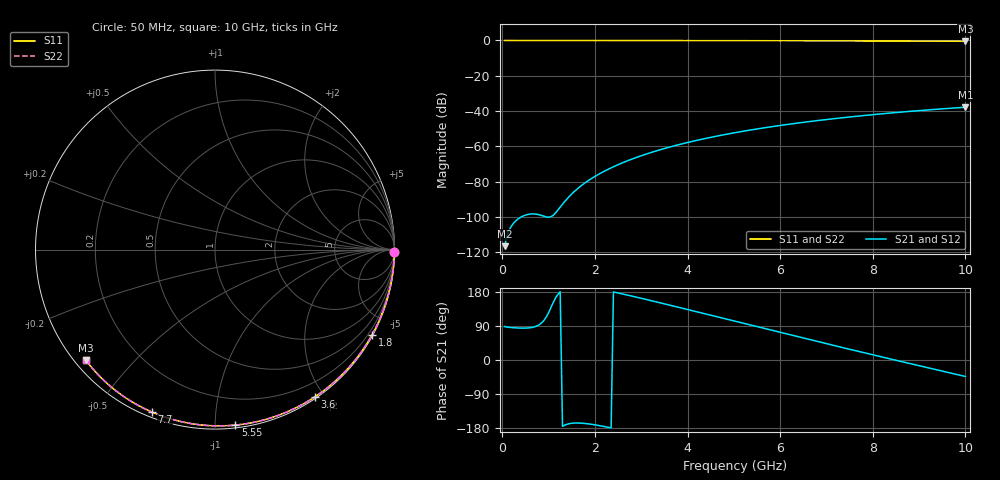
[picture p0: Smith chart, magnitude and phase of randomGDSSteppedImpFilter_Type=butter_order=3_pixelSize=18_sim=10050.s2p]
! freq	dB(S11)	phase(S11)	dB(S12)	phase(S12)
!  dB(S21)	phase(S21)	dB(S22)	phase(S22)
!S-par simulation data
#  GHz  S  DB  R 50
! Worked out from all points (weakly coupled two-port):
!   200 points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, 50 MHz to 10 GHz, reference 50 ohm
!   highest |S21| = -37.81 dB at 10 GHz (marker M1); lowest = -116.5 dB at 50 MHz (marker M2)
!   lowest |S11| = -0.5 dB at 10 GHz (marker M3), VSWR 36.94, Z = 1.54 - j18.4 ohm
!   |S11| at or under -10 dB: nowhere
!   |S22| runs from -0.5 to 0.0 dB; largest |S21 - S12| = 0
!   S11 on the Smith chart (normalised r, x): 50 MHz: open; 1.8 GHz: 0.03, -3.92; 3.6 GHz: 0.02, -1.89; 5.55 GHz: 0.02, -1.12; 7.7 GHz: 0.02, -0.68; 10 GHz: 0.03, -0.37
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0.05  -0.00 -0.8  -116.52 88.3  -116.52 88.3  -0.00 -0.8
0.45  -0.01 -7.3  -99.42 84.0  -99.42 84.0  -0.01 -7.3
0.9  -0.02 -14.4  -99.57 104.6  -99.57 104.6  -0.02 -14.4
1.75  -0.04 -27.8  -81.37 -167.1  -81.37 -167.1  -0.04 -27.8
1.8  -0.04 -28.6  -80.42 -167.7  -80.42 -167.7  -0.04 -28.6
1.85  -0.04 -29.4  -79.52 -168.4  -79.52 -168.4  -0.04 -29.4
2.05  -0.04 -32.5  -76.25 -172.1  -76.25 -172.1  -0.04 -32.5
2.2  -0.04 -34.8  -74.10 -175.5  -74.10 -175.5  -0.04 -34.8
2.55  -0.05 -40.2  -69.79 175.5  -69.79 175.5  -0.05 -40.2
2.95  -0.06 -46.2  -65.75 164.3  -65.75 164.3  -0.06 -46.2
3.4  -0.07 -52.9  -61.96 151.2  -61.96 151.2  -0.07 -52.9
3.6  -0.08 -55.9  -60.48 145.2  -60.48 145.2  -0.08 -55.9
3.9  -0.08 -60.2  -58.44 136.2  -58.44 136.2  -0.08 -60.2
4.3  -0.09 -66.0  -56.00 124.1  -56.00 124.1  -0.09 -66.0
5.05  -0.12 -76.5  -52.12 101.4  -52.12 101.4  -0.12 -76.5
5.55  -0.14 -83.3  -49.91 86.3  -49.91 86.3  -0.14 -83.3
6.1  -0.16 -90.7  -47.77 69.8  -47.77 69.8  -0.16 -90.7
6.7  -0.19 -98.5  -45.72 51.9  -45.72 51.9  -0.19 -98.5
7.7  -0.25 -111.3  -42.80 22.5  -42.80 22.5  -0.25 -111.3
8.35  -0.30 -119.4  -41.18 3.6  -41.18 3.6  -0.30 -119.4
9.2  -0.38 -129.8  -39.32 -20.8  -39.32 -20.8  -0.38 -129.8
10  -0.47 -139.6  -37.81 -43.5  -37.81 -43.5  -0.47 -139.6
